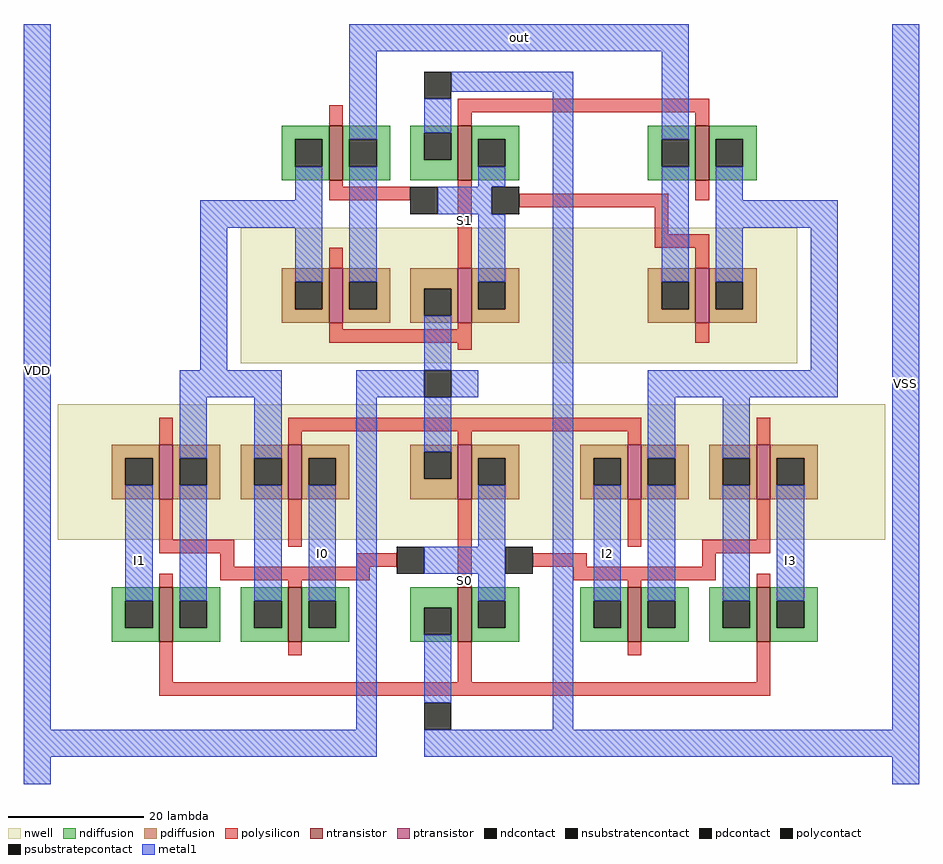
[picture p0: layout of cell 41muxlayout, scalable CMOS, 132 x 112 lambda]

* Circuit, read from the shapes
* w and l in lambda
.subckt 41muxlayout I0 I1 I2 I3 S0 S1 VDD VSS out
M1 n1 S0 I1 VSS nfet w=8 l=2
M2 I0 n2 n1 VSS nfet w=8 l=2
M3 out n3 n1 VSS nfet w=8 l=2
M4 n2 S0 VSS VSS nfet w=8 l=2
M5 n3 S1 VSS VSS nfet w=8 l=2
M6 n4 n2 I2 VSS nfet w=8 l=2
M7 n4 S1 out VSS nfet w=8 l=2
M8 I3 S0 n4 VSS nfet w=8 l=2
M9 n1 n2 I1 n5 pfet w=8 l=2
M10 I0 S0 n1 n5 pfet w=8 l=2
M11 out S1 n1 n6 pfet w=8 l=2
M12 n2 S0 VDD n5 pfet w=8 l=2
M13 n3 S1 VDD n6 pfet w=8 l=2
M14 n4 S0 I2 n5 pfet w=8 l=2
M15 n4 n3 out n6 pfet w=8 l=2
M16 I3 n2 n4 n5 pfet w=8 l=2
.ends

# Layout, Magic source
magic
tech scmos
<< nwell >>
rect 9 25 91 45
rect -18 -1 104 19
<< ntransistor >>
rect 22 52 24 60
rect 41 52 43 60
rect 76 52 78 60
rect -3 -16 -1 -8
rect 16 -16 18 -8
rect 41 -16 43 -8
rect 66 -16 68 -8
rect 85 -16 87 -8
<< ptransistor >>
rect 22 31 24 39
rect 41 31 43 39
rect 76 31 78 39
rect -3 5 -1 13
rect 16 5 18 13
rect 41 5 43 13
rect 66 5 68 13
rect 85 5 87 13
<< ndiffusion >>
rect 15 58 22 60
rect 15 54 17 58
rect 21 54 22 58
rect 15 52 22 54
rect 24 58 31 60
rect 24 54 25 58
rect 29 54 31 58
rect 24 52 31 54
rect 34 59 41 60
rect 34 55 36 59
rect 40 55 41 59
rect 34 52 41 55
rect 43 58 50 60
rect 43 54 44 58
rect 48 54 50 58
rect 43 52 50 54
rect 69 58 76 60
rect 69 54 71 58
rect 75 54 76 58
rect 69 52 76 54
rect 78 58 85 60
rect 78 54 79 58
rect 83 54 85 58
rect 78 52 85 54
rect -10 -10 -3 -8
rect -10 -14 -8 -10
rect -4 -14 -3 -10
rect -10 -16 -3 -14
rect -1 -10 6 -8
rect -1 -14 0 -10
rect 4 -14 6 -10
rect -1 -16 6 -14
rect 9 -10 16 -8
rect 9 -14 11 -10
rect 15 -14 16 -10
rect 9 -16 16 -14
rect 18 -10 25 -8
rect 18 -14 19 -10
rect 23 -14 25 -10
rect 18 -16 25 -14
rect 34 -11 41 -8
rect 34 -15 36 -11
rect 40 -15 41 -11
rect 34 -16 41 -15
rect 43 -10 50 -8
rect 43 -14 44 -10
rect 48 -14 50 -10
rect 43 -16 50 -14
rect 59 -10 66 -8
rect 59 -14 61 -10
rect 65 -14 66 -10
rect 59 -16 66 -14
rect 68 -10 75 -8
rect 68 -14 69 -10
rect 73 -14 75 -10
rect 68 -16 75 -14
rect 78 -10 85 -8
rect 78 -14 80 -10
rect 84 -14 85 -10
rect 78 -16 85 -14
rect 87 -10 94 -8
rect 87 -14 88 -10
rect 92 -14 94 -10
rect 87 -16 94 -14
<< pdiffusion >>
rect 15 37 22 39
rect 15 33 17 37
rect 21 33 22 37
rect 15 31 22 33
rect 24 37 31 39
rect 24 33 25 37
rect 29 33 31 37
rect 24 31 31 33
rect 34 36 41 39
rect 34 32 36 36
rect 40 32 41 36
rect 34 31 41 32
rect 43 37 50 39
rect 43 33 44 37
rect 48 33 50 37
rect 43 31 50 33
rect 69 37 76 39
rect 69 33 71 37
rect 75 33 76 37
rect 69 31 76 33
rect 78 37 85 39
rect 78 33 79 37
rect 83 33 85 37
rect 78 31 85 33
rect -10 11 -3 13
rect -10 7 -8 11
rect -4 7 -3 11
rect -10 5 -3 7
rect -1 11 6 13
rect -1 7 0 11
rect 4 7 6 11
rect -1 5 6 7
rect 9 11 16 13
rect 9 7 11 11
rect 15 7 16 11
rect 9 5 16 7
rect 18 11 25 13
rect 18 7 19 11
rect 23 7 25 11
rect 18 5 25 7
rect 34 12 41 13
rect 34 8 36 12
rect 40 8 41 12
rect 34 5 41 8
rect 43 11 50 13
rect 43 7 44 11
rect 48 7 50 11
rect 43 5 50 7
rect 59 11 66 13
rect 59 7 61 11
rect 65 7 66 11
rect 59 5 66 7
rect 68 11 75 13
rect 68 7 69 11
rect 73 7 75 11
rect 68 5 75 7
rect 78 11 85 13
rect 78 7 80 11
rect 84 7 85 11
rect 78 5 85 7
rect 87 11 94 13
rect 87 7 88 11
rect 92 7 94 11
rect 87 5 94 7
<< ndcontact >>
rect 17 54 21 58
rect 25 54 29 58
rect 36 55 40 59
rect 44 54 48 58
rect 71 54 75 58
rect 79 54 83 58
rect -8 -14 -4 -10
rect 0 -14 4 -10
rect 11 -14 15 -10
rect 19 -14 23 -10
rect 36 -15 40 -11
rect 44 -14 48 -10
rect 61 -14 65 -10
rect 69 -14 73 -10
rect 80 -14 84 -10
rect 88 -14 92 -10
<< pdcontact >>
rect 17 33 21 37
rect 25 33 29 37
rect 36 32 40 36
rect 44 33 48 37
rect 71 33 75 37
rect 79 33 83 37
rect -8 7 -4 11
rect 0 7 4 11
rect 11 7 15 11
rect 19 7 23 11
rect 36 8 40 12
rect 44 7 48 11
rect 61 7 65 11
rect 69 7 73 11
rect 80 7 84 11
rect 88 7 92 11
<< psubstratepcontact >>
rect 36 64 40 68
rect 36 -29 40 -25
<< nsubstratencontact >>
rect 36 20 40 24
<< polysilicon >>
rect 22 60 24 63
rect 41 62 78 64
rect 41 60 43 62
rect 76 60 78 62
rect 22 51 24 52
rect 22 49 34 51
rect 22 39 24 42
rect 41 39 43 52
rect 50 48 72 50
rect 76 49 78 52
rect 70 44 72 48
rect 70 42 78 44
rect 76 39 78 42
rect 22 30 24 31
rect 41 30 43 31
rect 22 28 43 30
rect 76 28 78 31
rect 41 27 43 28
rect -3 13 -1 17
rect 16 15 68 17
rect 16 13 18 15
rect 41 13 43 15
rect 66 13 68 15
rect 85 13 87 17
rect -3 -1 -1 5
rect -3 -3 8 -1
rect 16 -2 18 5
rect 6 -5 8 -3
rect 26 -5 32 -3
rect -3 -8 -1 -6
rect 6 -7 28 -5
rect 16 -8 18 -7
rect 41 -8 43 5
rect 66 -2 68 5
rect 85 -1 87 5
rect 77 -3 87 -1
rect 52 -5 60 -3
rect 77 -5 79 -3
rect 58 -7 79 -5
rect 66 -8 68 -7
rect 85 -8 87 -6
rect -3 -22 -1 -16
rect 16 -18 18 -16
rect 41 -22 43 -16
rect 66 -18 68 -16
rect 85 -22 87 -16
rect -3 -24 87 -22
<< polycontact >>
rect 34 47 38 51
rect 46 47 50 51
rect 32 -6 36 -2
rect 48 -6 52 -2
<< metal1 >>
rect -23 -29 -19 75
rect 25 71 75 75
rect 25 58 29 71
rect 17 49 21 54
rect 3 45 21 49
rect 3 24 7 45
rect 17 37 21 45
rect 40 65 58 68
rect 36 59 40 64
rect 25 37 29 54
rect 44 51 48 54
rect 38 47 46 51
rect 44 37 48 47
rect 36 24 40 32
rect 0 20 15 24
rect 0 11 4 20
rect -8 -10 -4 7
rect 0 -10 4 7
rect 11 11 15 20
rect 26 20 36 24
rect 40 20 44 24
rect 11 -10 15 7
rect 19 -10 23 7
rect 26 -29 29 20
rect 36 12 40 20
rect 44 -2 48 7
rect 36 -6 48 -2
rect 44 -10 48 -6
rect -23 -33 29 -29
rect 36 -25 40 -15
rect 55 -29 58 65
rect 71 58 75 71
rect 71 37 75 54
rect 79 49 83 54
rect 79 45 97 49
rect 79 37 83 45
rect 93 24 97 45
rect 69 20 97 24
rect 69 11 73 20
rect 61 -10 65 7
rect 69 -10 73 7
rect 80 11 84 20
rect 80 -10 84 7
rect 88 -10 92 7
rect 105 -29 109 75
rect 36 -33 109 -29
rect -23 -37 -19 -33
rect 105 -37 109 -33
<< labels >>
rlabel metal1 21 -3 21 -3 1 I0
rlabel metal1 -6 -4 -6 -4 1 I1
rlabel metal1 63 -3 63 -3 1 I2
rlabel metal1 90 -4 90 -4 1 I3
rlabel polysilicon 42 46 42 46 1 S1
rlabel polysilicon 42 -7 42 -7 1 S0
rlabel metal1 50 73 50 73 5 out
rlabel metal1 107 22 107 22 7 VSS
rlabel metal1 -21 24 -21 24 3 VDD
<< end >>
